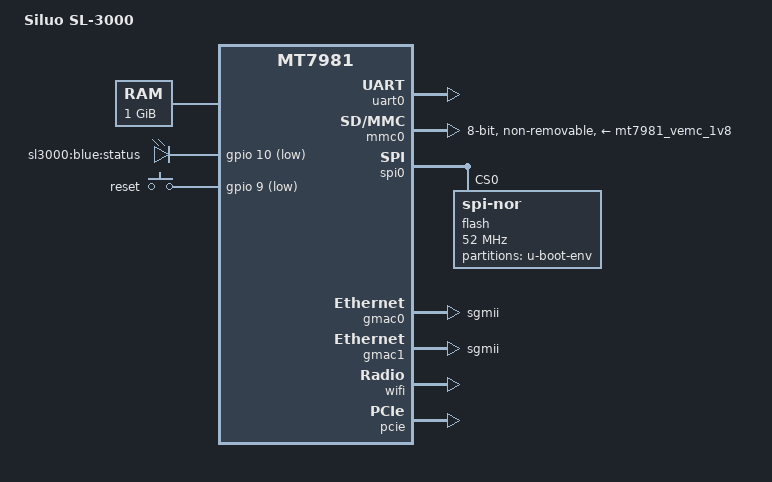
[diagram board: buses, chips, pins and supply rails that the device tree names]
// SPDX-License-Identifier: GPL-2.0-or-later
/dts-v1/;

#include "mt7981.dtsi"

/ {
	model = "Siluo SL-3000";
	compatible = "siluo,sl3000", "mediatek,mt7981";

	chosen {
		stdout-path = "serial0:115200n8";
	};

	memory@40000000 {
		device_type = "memory";
		reg = <0x0 0x40000000 0x0 0x40000000>; /* 1GB DDR4 */
	};

	aliases {
		serial0 = &uart0;
		ethernet0 = &gmac0;
		ethernet1 = &gmac1;
		led-boot = &led_status;
		led-failsafe = &led_status;
		led-running = &led_status;
		led-upgrade = &led_status;
	};

	leds {
		compatible = "gpio-leds";

		led_status: status {
			label = "sl3000:blue:status";
			gpios = <&gpio 10 GPIO_ACTIVE_LOW>;
		};
	};

	keys {
		compatible = "gpio-keys";

		reset {
			label = "reset";
			linux,code = <KEY_RESTART>;
			gpios = <&gpio 9 GPIO_ACTIVE_LOW>;
			debounce-interval = <60>;
		};
	};
};

/* UART */
&uart0 {
	status = "okay";
};

/* eMMC */
&mmc0 {
	status = "okay";

	bus-width = <8>;
	max-frequency = <200000000>;
	cap-mmc-highspeed;
	mmc-hs200-1_8v;
	mmc-hs400-1_8v;
	hs400-ds-delay = <0x14882>;
	non-removable;

	vmmc-supply = <&mt7981_vemc_1v8>;
	vqmmc-supply = <&mt7981_vio18>;

	mediatek,bootpart-no = <1>;

	/* 分区表（可根据实际调整） */
	partition@0 {
		label = "bl2";
		reg = <0x0 0x00000000 0x0 0x00080000>;
	};

	partition@80000 {
		label = "factory";
		reg = <0x0 0x00080000 0x0 0x00200000>;
	};

	partition@280000 {
		label = "fip";
		reg = <0x0 0x00280000 0x0 0x00400000>;
	};

	partition@680000 {
		label = "ubi";
		reg = <0x0 0x00680000 0x0 0x3F980000>;
	};
};

/* SPI-NOR（如果存在） */
&spi0 {
	status = "okay";

	flash@0 {
		compatible = "jedec,spi-nor";
		reg = <0>;
		spi-max-frequency = <52000000>;

		partitions {
			compatible = "fixed-partitions";
			#address-cells = <1>;
			#size-cells = <1>;

			partition@0 {
				label = "u-boot-env";
				reg = <0x00000000 0x00020000>;
			};
		};
	};
};

/* Ethernet */
&gmac0 {
	status = "okay";
	phy-mode = "sgmii";
	mediatek,fixed-link = <1 1 1000 0 0>;
};

&gmac1 {
	status = "okay";
	phy-mode = "sgmii";
	mediatek,fixed-link = <1 1 1000 0 0>;
};

/* WiFi MT7976CN */
&wifi {
	status = "okay";

	mediatek,mtd-eeprom = <&factory 0x0>;
	mediatek,disable-5g;
};

/* PCIe（如果 WiFi 走 PCIe） */
&pcie {
	status = "okay";
};

/* GPIO */
&gpio {
	status = "okay";
};

/* 温控 */
&thermal {
	status = "okay";
};
